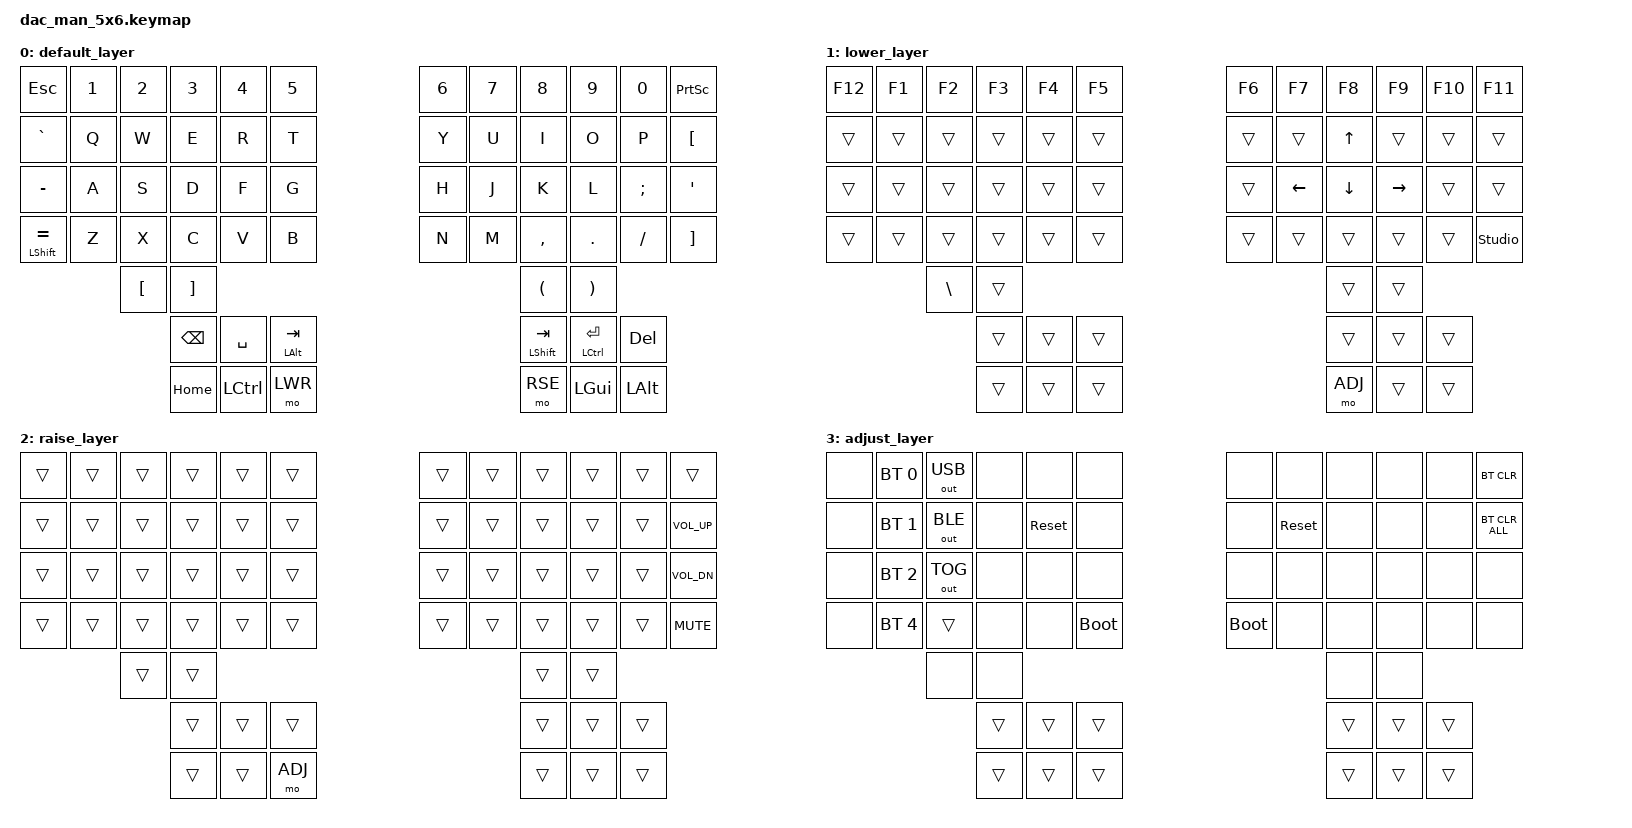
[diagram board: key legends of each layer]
#include <behaviors.dtsi>
#include <dt-bindings/zmk/bt.h>
#include <dt-bindings/zmk/keys.h>
#include <dt-bindings/zmk/outputs.h>

#define DEFAULT 0
#define LWR 1
#define RSE 2
#define ADJ 3

/ {
    keymap {
        compatible = "zmk,keymap";

        default_layer {
            bindings = <
                &kp ESC          &kp N1 &kp N2 &kp N3 &kp N4 &kp N5                   &kp N6 &kp N7 &kp N8    &kp N9  &kp N0   &kp PSCRN
                &kp GRAVE        &kp Q  &kp W  &kp E  &kp R  &kp T                    &kp Y  &kp U  &kp I     &kp O   &kp P    &kp LBKT
                &kp MINUS        &kp A  &kp S  &kp D  &kp F  &kp G                    &kp H  &kp J  &kp K     &kp L   &kp SEMI &kp SQT
                &mt LSHIFT EQUAL &kp Z  &kp X  &kp C  &kp V  &kp B                    &kp N  &kp M  &kp COMMA &kp DOT &kp FSLH &kp RBKT 
                                        &kp LBKT &kp RBKT                                           &kp LPAR  &kp RPAR

                                            &kp BSPC    &kp SPACE  &mt LALT TAB         &mt LSHIFT TAB  &mt LCTRL RET &kp DEL 
                                            &kp HOME    &kp LCTRL  &mo LWR              &mo RSE         &kp LGUI      &kp LALT
                                                        
            >;
        };

        lower_layer {
            bindings = <
                &kp F12 &kp F1 &kp F2 &kp F3 &kp F4 &kp F5                &kp F6 &kp F7   &kp F8   &kp F9    &kp F10   &kp F11
                &trans  &trans &trans &trans &trans &trans                &trans &trans   &kp UP   &trans    &trans    &trans
                &trans  &trans &trans &trans &trans &trans                &trans &kp LEFT &kp DOWN &kp RIGHT &trans    &trans
                &trans  &trans &trans &trans &trans &trans                &trans &trans   &trans   &trans    &trans    &studio_unlock
                               &kp BSLH &trans                                              &trans &trans

                                          &trans &trans &trans            &trans &trans &trans
                                          &trans &trans &trans            &mo ADJ &trans &trans
            >;
        };

        raise_layer {
            bindings = <
                &trans  &trans &trans &trans &trans &trans                &trans &trans &trans &trans &trans &trans
                &trans  &trans &trans &trans &trans &trans                &trans &trans &trans &trans &trans &kp K_VOL_UP
                &trans  &trans &trans &trans &trans &trans                &trans &trans &trans &trans &trans &kp K_VOL_DN
                &trans  &trans &trans &trans &trans &trans                &trans &trans &trans &trans &trans &kp K_MUTE
                               &trans &trans                                            &trans &trans

                                             &trans  &trans &trans               &trans  &trans &trans
                                             &trans  &trans &mo ADJ              &trans  &trans &trans
            >;
        };

        adjust_layer {
            bindings = <
                &none &bt BT_SEL 0 &out OUT_USB &none &none      &none            &none       &none      &none &none &none &bt BT_CLR
                &none &bt BT_SEL 1 &out OUT_BLE &none &sys_reset &none            &none       &sys_reset &none &none &none &bt BT_CLR_ALL
                &none &bt BT_SEL 2 &out OUT_TOG &none &none      &none            &none       &none      &none &none &none &none
                &none &bt BT_SEL 4 &trans       &none &none      &bootloader      &bootloader &none      &none &none &none &none
                                   &none  &none                                               &none      &none


                                             &trans  &trans &trans               &trans &trans &trans
                                             &trans  &trans &trans               &trans &trans &trans
            >;
        };
    };
};
